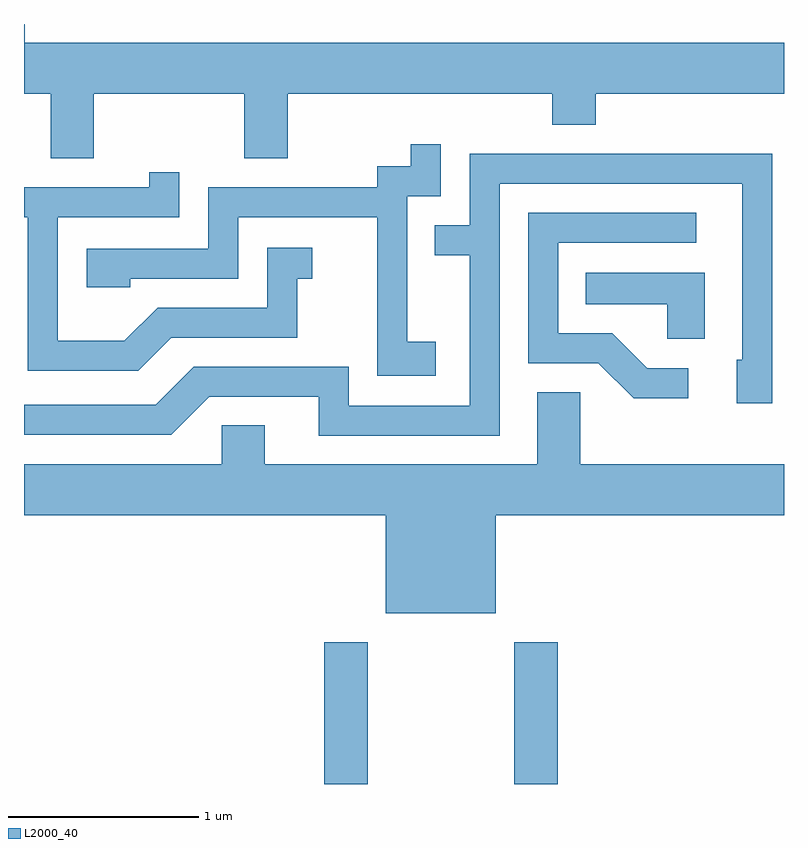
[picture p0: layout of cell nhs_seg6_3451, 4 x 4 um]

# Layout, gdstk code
import gdstk
lib = gdstk.Library(unit=1e-6, precision=1e-09)
def R(c, l, rs):  # rectangles x0, y0, x1, y1
    for r in rs: c.add(gdstk.rectangle(r[:2], r[2:], *l))
def P(c, l, *ps):  # polygons
    for p in ps: c.add(gdstk.Polygon(p, *l))
L2000_40 = (2000, 40)

nhs_seg6_3451 = lib.new_cell('nhs_seg6_3451')
R(nhs_seg6_3451, L2000_40, [(291.191,1564.162,291.419,1564.909), (292.191,1564.162,292.419,1564.909)])
P(nhs_seg6_3451, L2000_40, [(289.979,1567.796),(290.771,1567.796),(290.771,1567.456),(290.999,1567.456),(290.999,1567.796),(292.391,1567.796),(292.391,1567.631),(292.619,1567.631),(292.619,1567.796),(293.611,1567.796),(293.611,1568.064),(289.614,1568.064),(289.614,1568.162),(289.611,1568.162),(289.611,1567.796),(289.751,1567.796),(289.751,1567.456),(289.979,1567.456)],
  [(291.779,1566.489),(291.629,1566.489),(291.629,1567.256),(291.804,1567.256),(291.804,1567.528),(291.646,1567.528),(291.646,1567.414),(291.471,1567.414),(291.471,1567.304),(290.581,1567.304),(290.581,1566.979),(289.941,1566.979),(289.941,1566.776),(290.169,1566.776),(290.169,1566.821),(290.739,1566.821),(290.739,1567.146),(291.471,1567.146),(291.471,1566.311),(291.779,1566.311)],
  [(292.114,1567.321),(293.391,1567.321),(293.391,1566.394),(293.361,1566.394),(293.361,1566.166),(293.549,1566.166),(293.549,1567.479),(291.956,1567.479),(291.956,1567.104),(291.773,1567.104),(291.773,1566.946),(291.956,1566.946),(291.956,1566.154),(291.319,1566.154),(291.319,1566.359),(290.504,1566.359),(290.304,1566.159),(289.611,1566.159),(289.611,1566.001),(290.387,1566.001),(290.587,1566.201),(291.161,1566.201),(291.161,1565.996),(292.114,1565.996)],
  [(290.387,1566.511),(291.049,1566.511),(291.049,1566.821),(291.128,1566.821),(291.128,1566.984),(290.891,1566.984),(290.891,1566.669),(290.314,1566.669),(290.139,1566.494),(289.789,1566.494),(289.789,1567.146),(290.429,1567.146),(290.429,1567.383),(290.271,1567.383),(290.271,1567.304),(289.611,1567.304),(289.611,1567.146),(289.631,1567.146),(289.631,1566.336),(290.212,1566.336)],
  [(293.108,1566.349),(292.892,1566.349),(292.707,1566.534),(292.424,1566.534),(292.424,1567.011),(293.148,1567.011),(293.148,1567.169),(292.266,1567.169),(292.266,1566.376),(292.634,1566.376),(292.819,1566.191),(293.108,1566.191)],
  [(293.194,1566.854),(292.568,1566.854),(292.568,1566.686),(292.996,1566.686),(292.996,1566.506),(293.194,1566.506)],
  [(292.094,1565.576),(293.611,1565.576),(293.611,1565.844),(292.539,1565.844),(292.539,1566.224),(292.311,1566.224),(292.311,1565.844),(290.879,1565.844),(290.879,1566.049),(290.651,1566.049),(290.651,1565.844),(289.611,1565.844),(289.611,1565.576),(291.516,1565.576),(291.516,1565.061),(292.094,1565.061)])

lib.write_gds('nhs_seg6_3451.gds')
